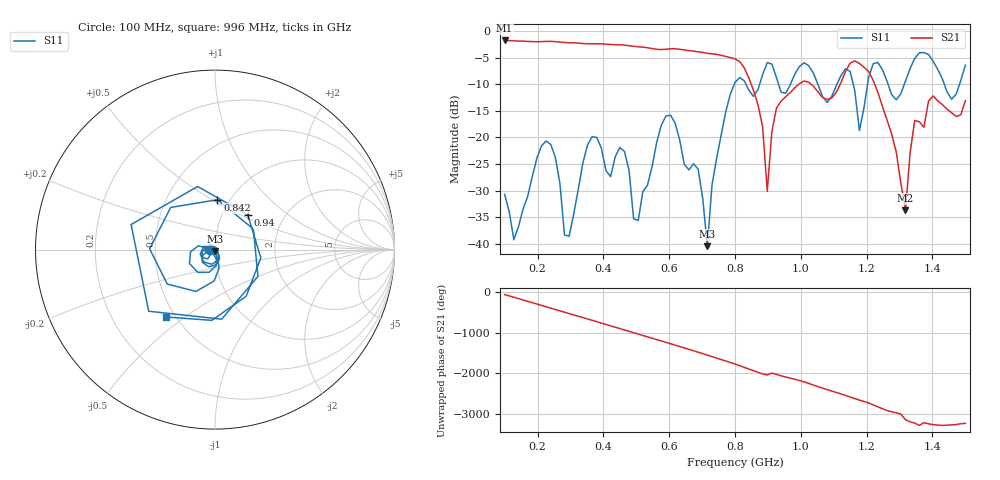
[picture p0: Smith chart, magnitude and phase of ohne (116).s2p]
! NanoVNA-App
! Date: 2025-09-25 17:39:11
! Start: 100MHz Stop: 1,5GHz Points: 101
! S-Parameter data: F S11 S21 S12 S22
# Hz S RI R 50
!  Frequency  S11_Real  S11_Imag  S21_Real  S21_Imag  S12_Real  S12_Imag  S22_Real  S22_Imag
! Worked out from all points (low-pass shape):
!   101 points, 100 MHz to 1.5 GHz, reference 50 ohm
!   highest |S21| = -1.80 dB at 100 MHz (marker M1); lowest = -33.7 dB at 1.318 GHz (marker M2)
!   |S21| within 3 dB of the highest: start of sweep to 771.7 MHz
!   lowest |S11| = -40.4 dB at 716 MHz (marker M3), VSWR 1.02, Z = 49.8 - j0.935 ohm
!   |S11| at or under -10 dB: start of sweep to 797.9 MHz; 833.2 MHz to 875 MHz (41.79 MHz wide, 4.89 % of centre); 1.052 GHz to 1.11 GHz (58.18 MHz wide, 5.38 % of centre) (the widest 3 of 7)
!   S12 and S22 are empty: the file has one direction only
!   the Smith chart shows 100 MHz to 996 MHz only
!   S11 on the Smith chart (normalised r, x): 100 MHz: 0.94, -0.01; 842 MHz: 0.88, +0.53; 940 MHz: 1.32, +0.55; 996 MHz: 0.44, -0.43
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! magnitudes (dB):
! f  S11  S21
! 100 MHz  -30.7  -1.8
! 128 MHz  -39.2  -1.9
! 226 MHz  -20.7  -2.0
! 296 MHz  -38.5  -2.2
! 338 MHz  -24.7  -2.4
! 464 MHz  -22.6  -2.7
! 506 MHz  -35.6  -3.0
! 576 MHz  -17.7  -3.5
! 688 MHz  -26.0  -3.9
! 716 MHz  -40.4  -4.2
! 800 MHz  -9.7  -5.3
! 842 MHz  -11.1  -8.8
! 898 MHz  -5.9  -30.1
! 940 MHz  -11.5  -13.2
! 996 MHz  -6.7  -9.9
! 1.038 GHz  -7.9  -10.4
! 1.178 GHz  -18.7  -6.1
! 1.22 GHz  -6.2  -9.3
! 1.276 GHz  -12.0  -19.4
! 1.318 GHz  -9.4  -33.7
! 1.346 GHz  -5.2  -16.8
! 1.5 GHz  -6.4  -13.1
